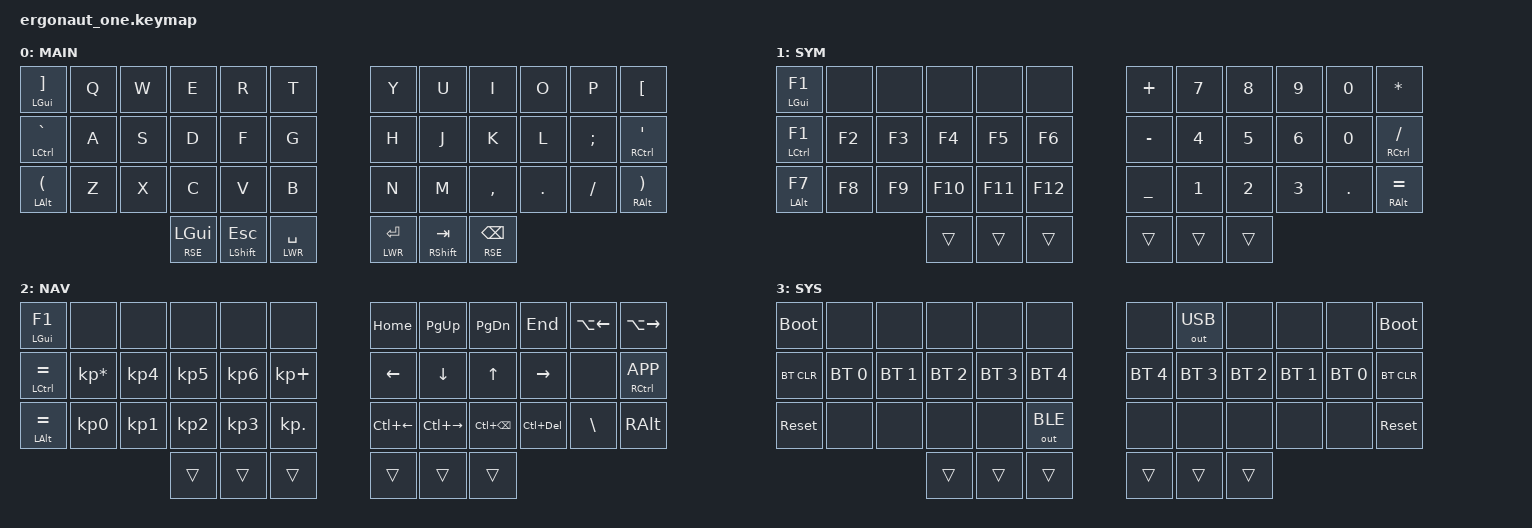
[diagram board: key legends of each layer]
#include <behaviors.dtsi>
#include <dt-bindings/zmk/bt.h>
#include <dt-bindings/zmk/keys.h>
#include <dt-bindings/zmk/outputs.h>

#define DEF 0
#define LWR 1
#define RSE 2
#define ADJ 3

&lt { quick-tap-ms = <200>; };

&mt { quick-tap-ms = <200>; };

/ {
    conditional_layers {
        compatible = "zmk,conditional-layers";

        tri-layer {
            if-layers = <LWR RSE>;
            then-layer = <ADJ>;
        };
    };

    combos {
        compatible = "zmk,combos";

        CapsWord {
            bindings = <&caps_word>;
            key-positions = <37 40>;
            timeout-ms = <80>;
        };
    };

    keymap {
        compatible = "zmk,keymap";

        default_layer {
            display-name = "MAIN";
            bindings = <
&mt LGUI RBKT              &kp Q  &kp W  &kp E             &kp R             &kp T          &kp Y          &kp U          &kp I              &kp O    &kp P     &kp LBKT
&mt LCTRL GRAVE            &kp A  &kp S  &kp D             &kp F             &kp G          &kp H          &kp J          &kp K              &kp L    &kp SEMI  &mt RCTRL SQT
&mt LALT LEFT_PARENTHESIS  &kp Z  &kp X  &kp C             &kp V             &kp B          &kp N          &kp M          &kp COMMA          &kp DOT  &kp FSLH  &mt RALT RIGHT_PARENTHESIS
                                         &lt RSE LEFT_GUI  &mt LSHFT ESCAPE  &lt LWR SPACE  &lt LWR ENTER  &mt RSHFT TAB  &lt RSE BACKSPACE
            >;
        };

        lower_layer {
            display-name = "SYM";
            bindings = <
&mt LGUI F1   &none   &none   &none    &none    &none    &kp PLUS        &kp NUMBER_7  &kp NUMBER_8  &kp NUMBER_9  &kp NUMBER_0  &kp ASTERISK
&mt LCTRL F1  &kp F2  &kp F3  &kp F4   &kp F5   &kp F6   &kp MINUS       &kp NUMBER_4  &kp NUMBER_5  &kp NUMBER_6  &kp NUMBER_0  &mt RCTRL SLASH
&mt LALT F7   &kp F8  &kp F9  &kp F10  &kp F11  &kp F12  &kp UNDERSCORE  &kp NUMBER_1  &kp NUMBER_2  &kp NUMBER_3  &kp DOT       &mt RIGHT_ALT EQUAL
                              &trans   &trans   &trans   &trans          &trans        &trans
            >;
        };

        raise_layer {
            display-name = "NAV";
            bindings = <
&mt LGUI F1      &none            &none      &none      &none      &none        &kp HOME      &kp PG_UP      &kp PG_DN          &kp END         &kp LA(LEFT)   &kp LA(RIGHT)
&mt LCTRL EQUAL  &kp KP_MULTIPLY  &kp KP_N4  &kp KP_N5  &kp KP_N6  &kp KP_PLUS  &kp LEFT      &kp DOWN       &kp UP             &kp RIGHT       &none          &mt RCTRL K_APP
&mt LALT EQUAL   &kp KP_N0        &kp KP_N1  &kp KP_N2  &kp KP_N3  &kp KP_DOT   &kp LC(LEFT)  &kp LC(RIGHT)  &kp LC(BACKSPACE)  &kp LC(DELETE)  &kp BACKSLASH  &kp RALT
                                             &trans     &trans     &trans       &trans        &trans         &trans
            >;
        };

        adjust_layer {
            display-name = "SYS";
            bindings = <
&bootloader  &none         &none         &none         &none         &none         &none         &out OUT_USB  &none         &none         &none         &bootloader
&bt BT_CLR   &bt BT_SEL 0  &bt BT_SEL 1  &bt BT_SEL 2  &bt BT_SEL 3  &bt BT_SEL 4  &bt BT_SEL 4  &bt BT_SEL 3  &bt BT_SEL 2  &bt BT_SEL 1  &bt BT_SEL 0  &bt BT_CLR
&sys_reset   &none         &none         &none         &none         &out OUT_BLE  &none         &none         &none         &none         &none         &sys_reset
                                         &trans        &trans        &trans        &trans        &trans        &trans
            >;
        };
    };
};
